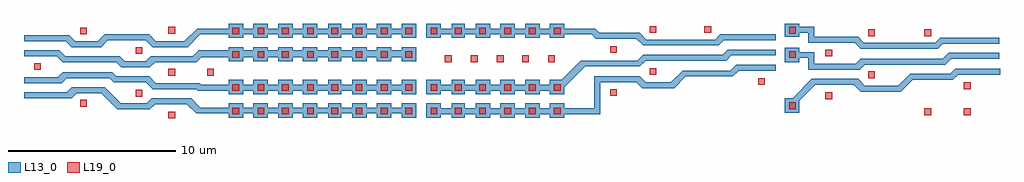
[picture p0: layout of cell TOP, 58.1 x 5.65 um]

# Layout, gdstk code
import gdstk
lib = gdstk.Library(unit=1e-6, precision=1e-09)
def R(c, l, rs):  # rectangles x0, y0, x1, y1
    for r in rs: c.add(gdstk.rectangle(r[:2], r[2:], *l))
def A(c, l, x, y, w, h, nx, ny, dx, dy):  # array of equal rectangles
    R(c, l, [(x+i*dx, y+j*dy, x+i*dx+w, y+j*dy+h) for i in range(nx) for j in range(ny)])
def P(c, l, *ps):  # polygons
    for p in ps: c.add(gdstk.Polygon(p, *l))
L13_0 = (13, 0)
L19_0 = (19, 0)

top = lib.new_cell('TOP')
P(top, L13_0, [(47.9,2.7),(47.45,2.7),(47.45,1.85),(48.3,1.85),(48.3,2.55),(49.25,3.5),(51.55,3.5),(51.95,3.1),(54.35,3.1),(55.05,3.8),(57.45,3.8),(57.75,4.1),(60.25,4.1),(60.25,4.45),(57.6,4.45),(57.3,4.15),(54.9,4.15),(54.2,3.45),(52.2,3.45),(51.8,3.85),(49.05,3.85)],
  [(48.3,6.95),(48.3,7.15),(47.45,7.15),(47.45,6.35),(48.3,6.35),(48.3,6.6),(48.85,6.6),(48.85,6),(51.6,6),(51.95,5.65),(56.55,5.65),(56.85,5.95),(60.2,5.95),(60.2,6.3),(56.7,6.3),(56.4,6),(52.15,6),(51.8,6.35),(49.2,6.35),(49.2,6.95)],
  [(31.35,1.75),(32,1.75),(32,1.55),(32.85,1.55),(32.85,1.75),(33.45,1.75),(33.45,1.55),(34.3,1.55),(34.3,1.75),(36.45,1.75),(36.45,3.65),(38.6,3.65),(38.95,3.3),(40.85,3.3),(41.55,4),(44.35,4),(44.7,4.35),(46.9,4.35),(46.9,4.7),(44.55,4.7),(44.2,4.35),(41.35,4.35),(40.65,3.65),(39.15,3.65),(38.8,4),(36.1,4),(36.1,2.1),(34.3,2.1),(34.3,2.4),(33.45,2.4),(33.45,2.1),(32.85,2.1),(32.85,2.4),(32,2.4),(32,2.1),(31.35,2.1),(31.35,2.4),(30.5,2.4),(30.5,2.1),(29.9,2.1),(29.9,2.4),(29.05,2.4),(29.05,2.1),(28.4,2.1),(28.4,2.4),(27.6,2.4),(27.6,2.1),(26.95,2.1),(26.95,2.4),(26.1,2.4),(26.1,1.55),(26.95,1.55),(26.95,1.75),(27.6,1.75),(27.6,1.55),(28.4,1.55),(28.4,1.75),(29.05,1.75),(29.05,1.55),(29.9,1.55),(29.9,1.75),(30.5,1.75),(30.5,1.55),(31.35,1.55)],
  [(29.05,3.5),(28.4,3.5),(28.4,3.8),(27.6,3.8),(27.6,3.5),(26.95,3.5),(26.95,3.8),(26.1,3.8),(26.1,2.95),(26.95,2.95),(26.95,3.15),(27.6,3.15),(27.6,2.95),(28.4,2.95),(28.4,3.15),(29.05,3.15),(29.05,2.95),(29.9,2.95),(29.9,3.15),(30.5,3.15),(30.5,2.95),(31.35,2.95),(31.35,3.15),(32,3.15),(32,2.95),(32.85,2.95),(32.85,3.15),(33.45,3.15),(33.45,2.95),(34.3,2.95),(34.3,3.35),(35.55,4.6),(38.8,4.6),(39.15,4.95),(43.95,4.95),(44.25,5.25),(46.9,5.25),(46.9,5.6),(44.05,5.6),(43.75,5.3),(39,5.3),(38.65,4.95),(35.3,4.95),(34.15,3.8),(33.45,3.8),(33.45,3.5),(32.85,3.5),(32.85,3.8),(32,3.8),(32,3.5),(31.35,3.5),(31.35,3.8),(30.5,3.8),(30.5,3.5),(29.9,3.5),(29.9,3.8),(29.05,3.8)],
  [(31.35,6.5),(32,6.5),(32,6.3),(32.85,6.3),(32.85,6.5),(33.45,6.5),(33.45,6.3),(34.3,6.3),(34.3,6.5),(35.95,6.5),(36.2,6.25),(38.6,6.25),(39,5.85),(43.5,5.85),(43.8,6.15),(46.9,6.15),(46.9,6.5),(43.6,6.5),(43.3,6.2),(39.2,6.2),(38.8,6.6),(36.4,6.6),(36.15,6.85),(34.3,6.85),(34.3,7.15),(33.45,7.15),(33.45,6.85),(32.85,6.85),(32.85,7.15),(32,7.15),(32,6.85),(31.35,6.85),(31.35,7.15),(30.5,7.15),(30.5,6.85),(29.9,6.85),(29.9,7.15),(29.05,7.15),(29.05,6.85),(28.4,6.85),(28.4,7.15),(27.6,7.15),(27.6,6.85),(26.95,6.85),(26.95,7.15),(26.1,7.15),(26.1,6.3),(26.95,6.3),(26.95,6.5),(27.6,6.5),(27.6,6.3),(28.4,6.3),(28.4,6.5),(29.05,6.5),(29.05,6.3),(29.9,6.3),(29.9,6.5),(30.5,6.5),(30.5,6.3),(31.35,6.3)],
  [(24,6.5),(24.65,6.5),(24.65,6.3),(25.5,6.3),(25.5,7.15),(24.65,7.15),(24.65,6.85),(24,6.85),(24,7.15),(23.15,7.15),(23.15,6.85),(22.55,6.85),(22.55,7.15),(21.7,7.15),(21.7,6.85),(21.05,6.85),(21.05,7.15),(20.25,7.15),(20.25,6.85),(19.6,6.85),(19.6,7.15),(18.75,7.15),(18.75,6.85),(18.15,6.85),(18.15,7.15),(17.3,7.15),(17.3,6.85),(16.65,6.85),(16.65,7.15),(15.8,7.15),(15.8,6.85),(15.2,6.85),(15.2,7.15),(14.35,7.15),(14.35,6.85),(12.45,6.85),(11.7,6.1),(10,6.1),(9.6,6.5),(6.95,6.5),(6.55,6.1),(5.2,6.1),(4.85,6.45),(2.15,6.45),(2.15,6.1),(4.65,6.1),(5,5.75),(6.75,5.75),(7.15,6.15),(9.4,6.15),(9.8,5.75),(11.9,5.75),(12.65,6.5),(14.35,6.5),(14.35,6.3),(15.2,6.3),(15.2,6.5),(15.8,6.5),(15.8,6.3),(16.65,6.3),(16.65,6.5),(17.3,6.5),(17.3,6.3),(18.15,6.3),(18.15,6.5),(18.75,6.5),(18.75,6.3),(19.6,6.3),(19.6,6.5),(20.25,6.5),(20.25,6.3),(21.05,6.3),(21.05,6.5),(21.7,6.5),(21.7,6.3),(22.55,6.3),(22.55,6.5),(23.15,6.5),(23.15,6.3),(24,6.3)],
  [(19.6,5.15),(20.25,5.15),(20.25,4.9),(21.05,4.9),(21.05,5.15),(21.7,5.15),(21.7,4.9),(22.55,4.9),(22.55,5.15),(23.15,5.15),(23.15,4.9),(24,4.9),(24,5.15),(24.65,5.15),(24.65,4.9),(25.5,4.9),(25.5,5.75),(24.65,5.75),(24.65,5.55),(24,5.55),(24,5.75),(23.15,5.75),(23.15,5.55),(22.55,5.55),(22.55,5.75),(21.7,5.75),(21.7,5.55),(21.05,5.55),(21.05,5.75),(20.25,5.75),(20.25,5.55),(19.6,5.55),(19.6,5.75),(18.75,5.75),(18.75,5.55),(18.15,5.55),(18.15,5.75),(17.3,5.75),(17.3,5.55),(16.65,5.55),(16.65,5.75),(15.8,5.75),(15.8,5.55),(15.2,5.55),(15.2,5.75),(14.35,5.75),(14.35,5.55),(12.55,5.55),(12.2,5.2),(9.7,5.2),(9.4,4.9),(8.15,4.9),(7.85,5.2),(4.6,5.2),(4.25,5.55),(2.15,5.55),(2.15,5.2),(4.1,5.2),(4.45,4.85),(7.65,4.85),(7.95,4.55),(9.65,4.55),(9.95,4.85),(12.4,4.85),(12.7,5.15),(14.35,5.15),(14.35,4.9),(15.2,4.9),(15.2,5.15),(15.8,5.15),(15.8,4.9),(16.65,4.9),(16.65,5.15),(17.3,5.15),(17.3,4.9),(18.15,4.9),(18.15,5.15),(18.75,5.15),(18.75,4.9),(19.6,4.9)],
  [(19.6,1.8),(20.25,1.8),(20.25,1.55),(21.05,1.55),(21.05,1.8),(21.7,1.8),(21.7,1.55),(22.55,1.55),(22.55,1.8),(23.15,1.8),(23.15,1.55),(24,1.55),(24,1.8),(24.65,1.8),(24.65,1.55),(25.5,1.55),(25.5,2.4),(24.65,2.4),(24.65,2.15),(24,2.15),(24,2.4),(23.15,2.4),(23.15,2.15),(22.55,2.15),(22.55,2.4),(21.7,2.4),(21.7,2.15),(21.05,2.15),(21.05,2.4),(20.25,2.4),(20.25,2.15),(19.6,2.15),(19.6,2.4),(18.75,2.4),(18.75,2.15),(18.15,2.15),(18.15,2.4),(17.3,2.4),(17.3,2.15),(16.65,2.15),(16.65,2.4),(15.8,2.4),(15.8,2.15),(15.2,2.15),(15.2,2.4),(14.35,2.4),(14.35,2.15),(12.65,2.15),(12.1,2.7),(9.75,2.7),(9.45,2.4),(7.9,2.4),(6.95,3.35),(5,3.35),(4.7,3.05),(2.15,3.05),(2.15,2.7),(5,2.7),(5.3,3),(6.75,3),(7.7,2.05),(9.65,2.05),(9.95,2.35),(11.85,2.35),(12.4,1.8),(14.35,1.8),(14.35,1.55),(15.2,1.55),(15.2,1.8),(15.8,1.8),(15.8,1.55),(16.65,1.55),(16.65,1.8),(17.3,1.8),(17.3,1.55),(18.15,1.55),(18.15,1.8),(18.75,1.8),(18.75,1.55),(19.6,1.55)],
  [(21.05,3.15),(21.7,3.15),(21.7,2.95),(22.55,2.95),(22.55,3.15),(23.15,3.15),(23.15,2.95),(24,2.95),(24,3.15),(24.65,3.15),(24.65,2.95),(25.5,2.95),(25.5,3.8),(24.65,3.8),(24.65,3.5),(24,3.5),(24,3.8),(23.15,3.8),(23.15,3.5),(22.55,3.5),(22.55,3.8),(21.7,3.8),(21.7,3.5),(21.05,3.5),(21.05,3.8),(20.25,3.8),(20.25,3.5),(19.6,3.5),(19.6,3.8),(18.75,3.8),(18.75,3.5),(18.15,3.5),(18.15,3.8),(17.3,3.8),(17.3,3.5),(16.65,3.5),(16.65,3.8),(15.8,3.8),(15.8,3.5),(15.2,3.5),(15.2,3.8),(14.35,3.8),(14.35,3.5),(12.7,3.5),(12.6,3.6),(10,3.6),(9.6,4),(7.65,4),(7.4,4.25),(4.45,4.25),(4.15,3.95),(2.15,3.95),(2.15,3.6),(4.4,3.6),(4.7,3.9),(7.25,3.9),(7.5,3.65),(9.4,3.65),(9.8,3.25),(12.4,3.25),(12.5,3.15),(14.35,3.15),(14.35,2.95),(15.2,2.95),(15.2,3.15),(15.8,3.15),(15.8,2.95),(16.65,2.95),(16.65,3.15),(17.3,3.15),(17.3,2.95),(18.15,2.95),(18.15,3.15),(18.75,3.15),(18.75,2.95),(19.6,2.95),(19.6,3.15),(20.25,3.15),(20.25,2.95),(21.05,2.95)],
  [(48.3,5.1),(48.85,5.1),(48.85,4.4),(51.9,4.4),(52.2,4.7),(57,4.7),(57.35,5.05),(60.2,5.05),(60.2,5.4),(57.2,5.4),(56.85,5.05),(51.95,5.05),(51.65,4.75),(49.2,4.75),(49.2,5.45),(48.3,5.45),(48.3,5.7),(47.45,5.7),(47.45,4.85),(48.3,4.85)])
A(top, L19_0, 19, 1.75, 0.4, 0.4, 3, 2, 1.45, 1.4)
A(top, L19_0, 26.35, 1.75, 0.4, 0.4, 3, 2, 1.45, 1.4)
A(top, L19_0, 27.2, 4.85, 0.4, 0.4, 3, 1, 1.55, 0)
A(top, L19_0, 19, 5.1, 0.4, 0.4, 3, 2, 1.45, 1.4)
A(top, L19_0, 26.35, 6.5, 0.4, 0.4, 3, 1, 1.45, 0)
R(top, L19_0, [(10.75,1.5,11.15,1.9), (55.75,1.7,56.15,2.1), (58.1,1.7,58.5,2.1), (14.55,1.75,14.95,2.15), (16.05,1.75,16.45,2.15), (17.5,1.75,17.9,2.15), (23.4,1.75,23.8,2.15), (24.85,1.75,25.25,2.15), (30.75,1.75,31.15,2.15), (32.2,1.75,32.6,2.15), (33.7,1.75,34.1,2.15), (47.7,2.05,48.1,2.45), (5.5,2.2,5.9,2.6), (49.85,2.65,50.25,3.05), (8.8,2.8,9.2,3.2), (37.05,2.85,37.45,3.25), (14.55,3.15,14.95,3.55), (16.05,3.15,16.45,3.55), (17.5,3.15,17.9,3.55), (23.4,3.15,23.8,3.55), (24.85,3.15,25.25,3.55), (30.75,3.15,31.15,3.55), (32.2,3.15,32.6,3.55), (33.7,3.15,34.1,3.55), (58.1,3.25,58.5,3.65), (45.85,3.5,46.25,3.9), (52.4,3.9,52.8,4.3), (10.75,4.05,11.15,4.45), (13.05,4.05,13.45,4.45), (39.4,4.1,39.8,4.5), (2.75,4.4,3.15,4.8), (31.8,4.85,32.2,5.25), (33.35,4.85,33.75,5.25), (14.55,5.1,14.95,5.5), (16.05,5.1,16.45,5.5), (17.5,5.1,17.9,5.5), (23.4,5.1,23.8,5.5), (24.85,5.1,25.25,5.5), (47.7,5.1,48.1,5.5), (49.85,5.2,50.25,5.6), (8.8,5.35,9.2,5.75), (37.05,5.4,37.45,5.8), (52.4,6.4,52.8,6.8), (55.75,6.4,56.15,6.8), (5.5,6.5,5.9,6.9), (14.55,6.5,14.95,6.9), (16.05,6.5,16.45,6.9), (17.5,6.5,17.9,6.9), (23.4,6.5,23.8,6.9), (24.85,6.5,25.25,6.9), (30.75,6.5,31.15,6.9), (32.2,6.5,32.6,6.9), (33.7,6.5,34.1,6.9), (10.75,6.55,11.15,6.95), (47.7,6.55,48.1,6.95), (39.4,6.6,39.8,7), (42.65,6.6,43.05,7)])

lib.write_gds('TOP.gds')
